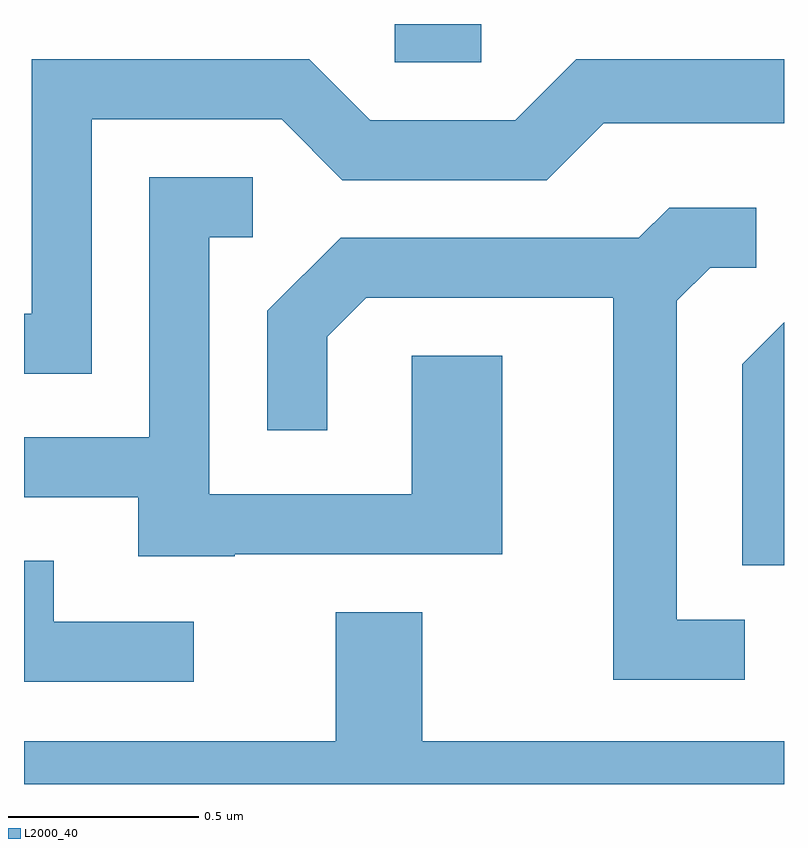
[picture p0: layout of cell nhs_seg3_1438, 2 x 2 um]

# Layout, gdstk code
import gdstk
lib = gdstk.Library(unit=1e-6, precision=1e-09)
def R(c, l, rs):  # rectangles x0, y0, x1, y1
    for r in rs: c.add(gdstk.rectangle(r[:2], r[2:], *l))
def P(c, l, *ps):  # polygons
    for p in ps: c.add(gdstk.Polygon(p, *l))
L2000_40 = (2000, 40)

nhs_seg3_1438 = lib.new_cell('nhs_seg3_1438')
R(nhs_seg3_1438, L2000_40, [(196.586,1185.791,196.814,1185.892)])
P(nhs_seg3_1438, L2000_40, [(195.789,1185.641),(196.289,1185.641),(196.449,1185.481),(196.987,1185.481),(197.137,1185.631),(197.611,1185.631),(197.611,1185.799),(197.064,1185.799),(196.904,1185.639),(196.522,1185.639),(196.362,1185.799),(195.631,1185.799),(195.631,1185.129),(195.611,1185.129),(195.611,1184.971),(195.789,1184.971)],
  [(196.165,1184.496),(196.869,1184.496),(196.869,1185.019),(196.631,1185.019),(196.631,1184.654),(196.099,1184.654),(196.099,1185.331),(196.213,1185.331),(196.213,1185.489),(195.941,1185.489),(195.941,1184.804),(195.611,1184.804),(195.611,1184.646),(195.911,1184.646),(195.911,1184.491),(196.165,1184.491)],
  [(197.508,1184.324),(197.329,1184.324),(197.329,1185.164),(197.417,1185.251),(197.538,1185.251),(197.538,1185.409),(197.309,1185.409),(197.229,1185.329),(196.444,1185.329),(196.251,1185.137),(196.251,1184.823),(196.409,1184.823),(196.409,1185.069),(196.512,1185.171),(197.161,1185.171),(197.161,1184.166),(197.508,1184.166)],
  [(197.611,1185.107),(197.501,1184.997),(197.501,1184.468),(197.611,1184.468)],
  [(196.058,1184.319),(195.689,1184.319),(195.689,1184.479),(195.611,1184.479),(195.611,1184.161),(196.058,1184.161)],
  [(197.611,1184.004),(196.659,1184.004),(196.659,1184.344),(196.431,1184.344),(196.431,1184.004),(195.611,1184.004),(195.611,1183.892),(197.611,1183.892)])

lib.write_gds('nhs_seg3_1438.gds')
